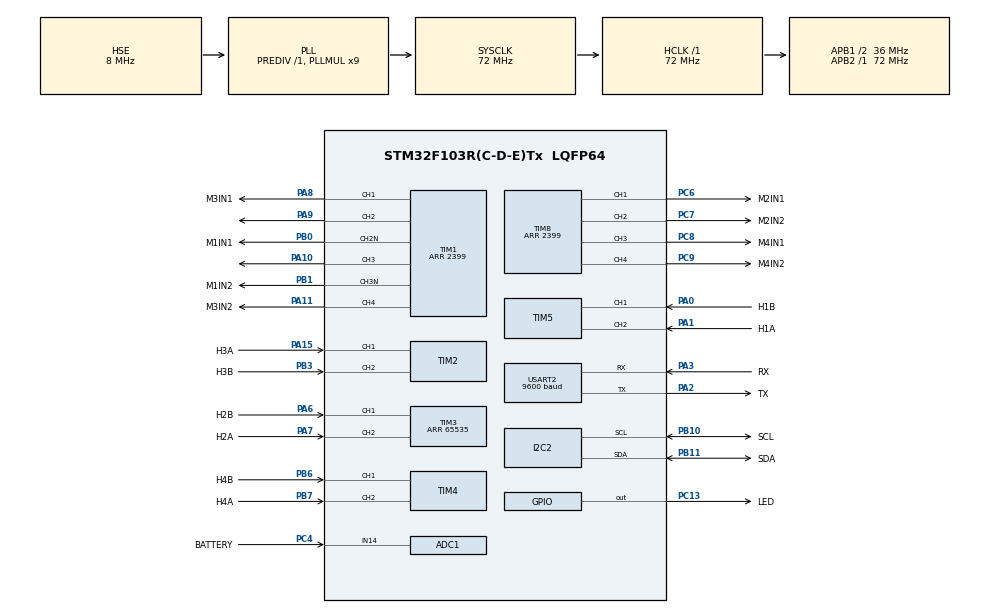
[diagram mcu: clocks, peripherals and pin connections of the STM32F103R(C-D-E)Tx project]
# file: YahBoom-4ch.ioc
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ADC1.Channel-1\#ChannelRegularConversion=ADC_CHANNEL_14
ADC1.NbrOfConversionFlag=1
ADC1.Rank-1\#ChannelRegularConversion=1
ADC1.SamplingTime-1\#ChannelRegularConversion=ADC_SAMPLETIME_55CYCLES_5
ADC1.master=1
Dma.Request0=USART2_RX
Dma.Request1=USART2_TX
Dma.USART2_RX.0.Direction=DMA_PERIPH_TO_MEMORY
Dma.USART2_RX.0.Instance=DMA1_Channel6
Dma.USART2_RX.0.MemDataAlignment=DMA_MDATAALIGN_BYTE
Dma.USART2_RX.0.MemInc=DMA_MINC_ENABLE
Dma.USART2_RX.0.Mode=DMA_CIRCULAR
Dma.USART2_RX.0.PeriphDataAlignment=DMA_PDATAALIGN_BYTE
Dma.USART2_RX.0.PeriphInc=DMA_PINC_DISABLE
Dma.USART2_RX.0.Priority=DMA_PRIORITY_MEDIUM
Dma.USART2_TX.1.Direction=DMA_MEMORY_TO_PERIPH
Dma.USART2_TX.1.Instance=DMA1_Channel7
Dma.USART2_TX.1.MemDataAlignment=DMA_MDATAALIGN_BYTE
Dma.USART2_TX.1.MemInc=DMA_MINC_ENABLE
Dma.USART2_TX.1.Mode=DMA_NORMAL
Dma.USART2_TX.1.PeriphDataAlignment=DMA_PDATAALIGN_BYTE
Dma.USART2_TX.1.PeriphInc=DMA_PINC_DISABLE
Dma.USART2_TX.1.Priority=DMA_PRIORITY_MEDIUM
Mcu.Family=STM32F1
Mcu.Name=STM32F103R(C-D-E)Tx
Mcu.Package=LQFP64
NVIC.DMA1_Channel6_IRQn=true\:2\:0\:true\:false\:true\:false\:true\:true
NVIC.DMA1_Channel7_IRQn=true\:3\:0\:true\:false\:true\:false\:true\:true
NVIC.PriorityGroup=NVIC_PRIORITYGROUP_4
NVIC.TIM6_IRQn=true\:1\:0\:true\:false\:true\:true\:true\:true
NVIC.USART2_IRQn=true\:0\:0\:true\:false\:true\:true\:true\:true
PA0-WKUP.GPIO_Label=H1B
PA0-WKUP.Signal=S_TIM5_CH1
PA1.GPIO_Label=H1A
PA1.Signal=S_TIM5_CH2
PA10.Signal=S_TIM1_CH3
PA11.GPIO_Label=M3IN2
PA11.Signal=S_TIM1_CH4
PA13.Mode=Serial_Wire
PA13.Signal=SYS_JTMS-SWDIO
PA14.Mode=Serial_Wire
PA14.Signal=SYS_JTCK-SWCLK
PA15.GPIO_Label=H3A
PA15.Signal=S_TIM2_CH1_ETR
PA2.GPIO_Label=TX
PA2.Mode=Asynchronous
PA2.Signal=USART2_TX
PA3.GPIO_Label=RX
PA3.Mode=Asynchronous
PA3.Signal=USART2_RX
PA6.GPIO_Label=H2B
PA6.Signal=S_TIM3_CH1
PA7.GPIO_Label=H2A
PA7.Signal=S_TIM3_CH2
PA8.GPIO_Label=M3IN1
PA8.Signal=S_TIM1_CH1
PA9.Signal=S_TIM1_CH2
PB0.GPIO_Label=M1IN1
PB0.Mode=PWM Generation2 CH2 CH2N
PB0.Signal=TIM1_CH2N
PB1.GPIO_Label=M1IN2
PB1.Mode=PWM Generation3 CH3 CH3N
PB1.Signal=TIM1_CH3N
PB10.GPIO_Label=SCL
PB10.Mode=I2C
PB10.Signal=I2C2_SCL
PB11.GPIO_Label=SDA
PB11.Mode=I2C
PB11.Signal=I2C2_SDA
PB3.GPIO_Label=H3B
PB3.Signal=S_TIM2_CH2
PB6.GPIO_Label=H4B
PB6.Signal=S_TIM4_CH1
PB7.GPIO_Label=H4A
PB7.Signal=S_TIM4_CH2
PC13-TAMPER-RTC.GPIO_Label=LED
PC13-TAMPER-RTC.Signal=GPIO_Output
PC4.GPIO_Label=BATTERY
PC4.Signal=ADCx_IN14
PC6.GPIO_Label=M2IN1
PC6.Signal=S_TIM8_CH1
PC7.GPIO_Label=M2IN2
PC7.Signal=S_TIM8_CH2
PC8.GPIO_Label=M4IN1
PC8.Signal=S_TIM8_CH3
PC9.GPIO_Label=M4IN2
PC9.Signal=S_TIM8_CH4
PD0-OSC_IN.Mode=HSE-External-Oscillator
PD0-OSC_IN.Signal=RCC_OSC_IN
PD1-OSC_OUT.Mode=HSE-External-Oscillator
PD1-OSC_OUT.Signal=RCC_OSC_OUT
ProjectManager.HeapSize=0x200
ProjectManager.StackSize=0x400
ProjectManager.TargetToolchain=STM32CubeIDE
RCC.ADCPresc=RCC_ADCPCLK2_DIV6
RCC.AHBFreq_Value=72000000
RCC.APB1CLKDivider=RCC_HCLK_DIV2
RCC.APB1Freq_Value=36000000
RCC.APB1TimFreq_Value=72000000
RCC.APB2Freq_Value=72000000
RCC.APB2TimFreq_Value=72000000
RCC.HCLKFreq_Value=72000000
RCC.PLLMUL=RCC_PLL_MUL9
RCC.PLLSourceVirtual=RCC_PLLSOURCE_HSE
RCC.SYSCLKFreq_VALUE=72000000
RCC.SYSCLKSource=RCC_SYSCLKSOURCE_PLLCLK
RCC.USBFreq_Value=72000000
SH.ADCx_IN14.0=ADC1_IN14,IN14
SH.S_TIM1_CH1.0=TIM1_CH1,PWM Generation1 CH1
SH.S_TIM1_CH2.0=TIM1_CH2,PWM Generation2 CH2 CH2N
SH.S_TIM1_CH3.0=TIM1_CH3,PWM Generation3 CH3 CH3N
SH.S_TIM1_CH4.0=TIM1_CH4,PWM Generation4 CH4
SH.S_TIM2_CH1_ETR.0=TIM2_CH1,Encoder_Interface
SH.S_TIM2_CH2.0=TIM2_CH2,Encoder_Interface
SH.S_TIM3_CH1.0=TIM3_CH1,Encoder_Interface
SH.S_TIM3_CH2.0=TIM3_CH2,Encoder_Interface
SH.S_TIM4_CH1.0=TIM4_CH1,Encoder_Interface
SH.S_TIM4_CH2.0=TIM4_CH2,Encoder_Interface
SH.S_TIM5_CH1.0=TIM5_CH1,Encoder_Interface
SH.S_TIM5_CH2.0=TIM5_CH2,Encoder_Interface
SH.S_TIM8_CH1.0=TIM8_CH1,PWM Generation1 CH1
SH.S_TIM8_CH2.0=TIM8_CH2,PWM Generation2 CH2
SH.S_TIM8_CH3.0=TIM8_CH3,PWM Generation3 CH3
SH.S_TIM8_CH4.0=TIM8_CH4,PWM Generation4 CH4
TIM1.Channel-PWM\ Generation1\ CH1=TIM_CHANNEL_1
TIM1.Channel-PWM\ Generation2\ CH2\ CH2N=TIM_CHANNEL_2
TIM1.Channel-PWM\ Generation3\ CH3\ CH3N=TIM_CHANNEL_3
TIM1.Channel-PWM\ Generation4\ CH4=TIM_CHANNEL_4
TIM1.OCNPolarity_2=TIM_OCNPOLARITY_LOW
TIM1.OCNPolarity_3=TIM_OCNPOLARITY_LOW
TIM1.Period=2399
TIM2.EncoderMode=TIM_ENCODERMODE_TI12
TIM2.IC1Filter=6
TIM2.IC2Filter=6
TIM3.EncoderMode=TIM_ENCODERMODE_TI12
TIM3.IC1Filter=6
TIM3.IC2Filter=6
TIM3.Period=65535
TIM4.EncoderMode=TIM_ENCODERMODE_TI12
TIM4.IC1Filter=6
TIM4.IC2Filter=6
TIM5.EncoderMode=TIM_ENCODERMODE_TI12
TIM5.IC1Filter=6
TIM5.IC2Filter=6
TIM6.Period=999
TIM6.Prescaler=71
TIM8.Channel-PWM\ Generation1\ CH1=TIM_CHANNEL_1
TIM8.Channel-PWM\ Generation2\ CH2=TIM_CHANNEL_2
TIM8.Channel-PWM\ Generation3\ CH3=TIM_CHANNEL_3
TIM8.Channel-PWM\ Generation4\ CH4=TIM_CHANNEL_4
TIM8.Period=2399
USART2.BaudRate=9600
USART2.VirtualMode=VM_ASYNC
VP_TIM6_VS_ClockSourceINT.Mode=Enable_Timer
board=custom

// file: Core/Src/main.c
/* USER CODE BEGIN Header */
/**
  ******************************************************************************
  * @file           : main.c
  * @brief          : Main program body
  ******************************************************************************
  * @attention
  *
  * Copyright (c) 2026 STMicroelectronics.
  * All rights reserved.
  *
  * This software is licensed under terms that can be found in the LICENSE file
  * in the root directory of this software component.
  * If no LICENSE file comes with this software, it is provided AS-IS.
  *
  ******************************************************************************
  */
/* USER CODE END Header */
#include "main.h"

/* USER CODE BEGIN Includes */
#include "app_c_api.h"
#include "firmware_runtime.h"
#include "kicker_board.h"
#include "robot_identity.h"
#include "serial_service.h"

/* USER CODE END Includes */

/* USER CODE BEGIN PD */
#define USART2_CONFIGURED_BAUD \
  ((TAURA_COMM_MODE != COMM_MODE_MATCH) ? BENCH_UART_BAUD : \
   ((TAURA_MATCH_TRANSPORT == MATCH_TRANSPORT_AIRPORT_TEAM) ? \
    MATCH_AIRPORT_UART_BAUD : MATCH_CRSF_UART_BAUD))
/* USER CODE END PD */

ADC_HandleTypeDef hadc1;

I2C_HandleTypeDef hi2c2;

TIM_HandleTypeDef htim1;
TIM_HandleTypeDef htim2;
TIM_HandleTypeDef htim3;
TIM_HandleTypeDef htim4;
TIM_HandleTypeDef htim5;
TIM_HandleTypeDef htim6;
TIM_HandleTypeDef htim8;

UART_HandleTypeDef huart2;
DMA_HandleTypeDef hdma_usart2_rx;
DMA_HandleTypeDef hdma_usart2_tx;

void SystemClock_Config(void);
static void MX_GPIO_Init(void);
static void MX_DMA_Init(void);
static void MX_ADC1_Init(void);
static void MX_I2C2_Init(void);
static void MX_TIM1_Init(void);
static void MX_TIM3_Init(void);
static void MX_TIM8_Init(void);
static void MX_USART2_UART_Init(void);
static void MX_TIM2_Init(void);
static void MX_TIM4_Init(void);
static void MX_TIM5_Init(void);
static void MX_TIM6_Init(void);
/* USER CODE BEGIN PFP */
static void ApplyCommModeUartBaud(void);
/* USER CODE END PFP */

/* USER CODE BEGIN 0 */
static void ApplyCommModeUartBaud(void)
{
  if (huart2.Init.BaudRate == USART2_CONFIGURED_BAUD)
  {
    return;
  }

  huart2.Init.BaudRate = USART2_CONFIGURED_BAUD;
  if (HAL_UART_Init(&huart2) != HAL_OK)
  {
    Error_Handler();
  }
}
/* USER CODE END 0 */

int main(void)
{

  /* MCU Configuration--------------------------------------------------------*/

  /* Reset of all peripherals, Initializes the Flash interface and the Systick. */
   HAL_Init();

  /* Configure the system clock */
  SystemClock_Config();

  /* Initialize all configured peripherals */
  MX_GPIO_Init();
  MX_DMA_Init();
  MX_ADC1_Init();
  MX_I2C2_Init();
  MX_TIM1_Init();
  MX_TIM3_Init();
  MX_TIM8_Init();
  MX_USART2_UART_Init();
  MX_TIM2_Init();
  MX_TIM4_Init();
  MX_TIM5_Init();
  MX_TIM6_Init();
  /* USER CODE BEGIN 2 */
  KickerBoard_Init(&hi2c2);
  ApplyCommModeUartBaud();
  FirmwareRuntime_WatchdogInit();
  RobotIdentity_Init();
  AppC_Init(&hadc1, &htim1, &htim8, &htim5, &htim3, &htim2, &htim4, LED_GPIO_Port, LED_Pin);
  RobotMotionLimits motion_limits;
  RobotIdentity_GetMotionLimits(&motion_limits);
  AppC_SetMotionLimits(motion_limits.max_linear_accel,
                       motion_limits.max_angular_accel,
                       motion_limits.max_brake_accel);
  HAL_TIM_Base_Start_IT(&htim6);
  if (SerialService_Init(&huart2, &hdma_usart2_rx) != HAL_OK)
  {
    Error_Handler();
  }

  /* USER CODE END 2 */

  /* Infinite loop */
  while (1)
  {

    /* USER CODE BEGIN 3 */
    AppC_Tick();
    SerialService_Task();
    KickerBoard_Task();
    FirmwareRuntime_WatchdogRefresh();
  }
  /* USER CODE END 3 */
}

void SystemClock_Config(void)
{
  RCC_OscInitTypeDef RCC_OscInitStruct = {0};
  RCC_ClkInitTypeDef RCC_ClkInitStruct = {0};
  RCC_PeriphCLKInitTypeDef PeriphClkInit = {0};

  /** Initializes the RCC Oscillators according to the specified parameters
  * in the RCC_OscInitTypeDef structure.
  */
  RCC_OscInitStruct.OscillatorType = RCC_OSCILLATORTYPE_HSE;
  RCC_OscInitStruct.HSEState = RCC_HSE_ON;
  RCC_OscInitStruct.HSEPredivValue = RCC_HSE_PREDIV_DIV1;
  RCC_OscInitStruct.HSIState = RCC_HSI_ON;
  RCC_OscInitStruct.PLL.PLLState = RCC_PLL_ON;
  RCC_OscInitStruct.PLL.PLLSource = RCC_PLLSOURCE_HSE;
  RCC_OscInitStruct.PLL.PLLMUL = RCC_PLL_MUL9;
  if (HAL_RCC_OscConfig(&RCC_OscInitStruct) != HAL_OK)
  {
    Error_Handler();
  }

  /** Initializes the CPU, AHB and APB buses clocks
  */
  RCC_ClkInitStruct.ClockType = RCC_CLOCKTYPE_HCLK|RCC_CLOCKTYPE_SYSCLK
                              |RCC_CLOCKTYPE_PCLK1|RCC_CLOCKTYPE_PCLK2;
  RCC_ClkInitStruct.SYSCLKSource = RCC_SYSCLKSOURCE_PLLCLK;
  RCC_ClkInitStruct.AHBCLKDivider = RCC_SYSCLK_DIV1;
  RCC_ClkInitStruct.APB1CLKDivider = RCC_HCLK_DIV2;
  RCC_ClkInitStruct.APB2CLKDivider = RCC_HCLK_DIV1;

  if (HAL_RCC_ClockConfig(&RCC_ClkInitStruct, FLASH_LATENCY_2) != HAL_OK)
  {
    Error_Handler();
  }
  PeriphClkInit.PeriphClockSelection = RCC_PERIPHCLK_ADC;
  PeriphClkInit.AdcClockSelection = RCC_ADCPCLK2_DIV6;
  if (HAL_RCCEx_PeriphCLKConfig(&PeriphClkInit) != HAL_OK)
  {
    Error_Handler();
  }
}

static void MX_ADC1_Init(void)
{

  ADC_ChannelConfTypeDef sConfig = {0};

  /** Common config
  */
  hadc1.Instance = ADC1;
  hadc1.Init.ScanConvMode = ADC_SCAN_DISABLE;
  hadc1.Init.ContinuousConvMode = DISABLE;
  hadc1.Init.DiscontinuousConvMode = DISABLE;
  hadc1.Init.ExternalTrigConv = ADC_SOFTWARE_START;
  hadc1.Init.DataAlign = ADC_DATAALIGN_RIGHT;
  hadc1.Init.NbrOfConversion = 1;
  if (HAL_ADC_Init(&hadc1) != HAL_OK)
  {
    Error_Handler();
  }

  /** Configure Regular Channel
  */
  sConfig.Channel = ADC_CHANNEL_14;
  sConfig.Rank = ADC_REGULAR_RANK_1;
  sConfig.SamplingTime = ADC_SAMPLETIME_55CYCLES_5;
  if (HAL_ADC_ConfigChannel(&hadc1, &sConfig) != HAL_OK)
  {
    Error_Handler();
  }

}

static void MX_I2C2_Init(void)
{

  hi2c2.Instance = I2C2;
  hi2c2.Init.ClockSpeed = 100000;
  hi2c2.Init.DutyCycle = I2C_DUTYCYCLE_2;
  hi2c2.Init.OwnAddress1 = 0;
  hi2c2.Init.AddressingMode = I2C_ADDRESSINGMODE_7BIT;
  hi2c2.Init.DualAddressMode = I2C_DUALADDRESS_DISABLE;
  hi2c2.Init.OwnAddress2 = 0;
  hi2c2.Init.GeneralCallMode = I2C_GENERALCALL_DISABLE;
  hi2c2.Init.NoStretchMode = I2C_NOSTRETCH_DISABLE;
  if (HAL_I2C_Init(&hi2c2) != HAL_OK)
  {
    Error_Handler();
  }

}

static void MX_TIM1_Init(void)
{

  TIM_MasterConfigTypeDef sMasterConfig = {0};
  TIM_OC_InitTypeDef sConfigOC = {0};
  TIM_BreakDeadTimeConfigTypeDef sBreakDeadTimeConfig = {0};

  htim1.Instance = TIM1;
  htim1.Init.Prescaler = 0;
  htim1.Init.CounterMode = TIM_COUNTERMODE_UP;
  htim1.Init.Period = 2399;
  htim1.Init.ClockDivision = TIM_CLOCKDIVISION_DIV1;
  htim1.Init.RepetitionCounter = 0;
  htim1.Init.AutoReloadPreload = TIM_AUTORELOAD_PRELOAD_DISABLE;
  if (HAL_TIM_PWM_Init(&htim1) != HAL_OK)
  {
    Error_Handler();
  }
  sMasterConfig.MasterOutputTrigger = TIM_TRGO_RESET;
  sMasterConfig.MasterSlaveMode = TIM_MASTERSLAVEMODE_DISABLE;
  if (HAL_TIMEx_MasterConfigSynchronization(&htim1, &sMasterConfig) != HAL_OK)
  {
    Error_Handler();
  }
  sConfigOC.OCMode = TIM_OCMODE_PWM1;
  sConfigOC.Pulse = 0;
  sConfigOC.OCPolarity = TIM_OCPOLARITY_HIGH;
  sConfigOC.OCNPolarity = TIM_OCNPOLARITY_HIGH;
  sConfigOC.OCFastMode = TIM_OCFAST_DISABLE;
  sConfigOC.OCIdleState = TIM_OCIDLESTATE_RESET;
  sConfigOC.OCNIdleState = TIM_OCNIDLESTATE_RESET;
  if (HAL_TIM_PWM_ConfigChannel(&htim1, &sConfigOC, TIM_CHANNEL_1) != HAL_OK)
  {
    Error_Handler();
  }
  sConfigOC.OCNPolarity = TIM_OCNPOLARITY_LOW;
  if (HAL_TIM_PWM_ConfigChannel(&htim1, &sConfigOC, TIM_CHANNEL_2) != HAL_OK)
  {
    Error_Handler();
  }
  if (HAL_TIM_PWM_ConfigChannel(&htim1, &sConfigOC, TIM_CHANNEL_3) != HAL_OK)
  {
    Error_Handler();
  }
  if (HAL_TIM_PWM_ConfigChannel(&htim1, &sConfigOC, TIM_CHANNEL_4) != HAL_OK)
  {
    Error_Handler();
  }
  sBreakDeadTimeConfig.OffStateRunMode = TIM_OSSR_DISABLE;
  sBreakDeadTimeConfig.OffStateIDLEMode = TIM_OSSI_DISABLE;
  sBreakDeadTimeConfig.LockLevel = TIM_LOCKLEVEL_OFF;
  sBreakDeadTimeConfig.DeadTime = 0;
  sBreakDeadTimeConfig.BreakState = TIM_BREAK_DISABLE;
  sBreakDeadTimeConfig.BreakPolarity = TIM_BREAKPOLARITY_HIGH;
  sBreakDeadTimeConfig.AutomaticOutput = TIM_AUTOMATICOUTPUT_DISABLE;
  if (HAL_TIMEx_ConfigBreakDeadTime(&htim1, &sBreakDeadTimeConfig) != HAL_OK)
  {
    Error_Handler();
  }
  HAL_TIM_MspPostInit(&htim1);

}

static void MX_TIM2_Init(void)
{

  TIM_Encoder_InitTypeDef sConfig = {0};
  TIM_MasterConfigTypeDef sMasterConfig = {0};

  htim2.Instance = TIM2;
  htim2.Init.Prescaler = 0;
  htim2.Init.CounterMode = TIM_COUNTERMODE_UP;
  htim2.Init.Period = 65535;
  htim2.Init.ClockDivision = TIM_CLOCKDIVISION_DIV1;
  htim2.Init.AutoReloadPreload = TIM_AUTORELOAD_PRELOAD_DISABLE;
  sConfig.EncoderMode = TIM_ENCODERMODE_TI12;
  sConfig.IC1Polarity = TIM_ICPOLARITY_RISING;
  sConfig.IC1Selection = TIM_ICSELECTION_DIRECTTI;
  sConfig.IC1Prescaler = TIM_ICPSC_DIV1;
  sConfig.IC1Filter = 6;
  sConfig.IC2Polarity = TIM_ICPOLARITY_RISING;
  sConfig.IC2Selection = TIM_ICSELECTION_DIRECTTI;
  sConfig.IC2Prescaler = TIM_ICPSC_DIV1;
  sConfig.IC2Filter = 6;
  if (HAL_TIM_Encoder_Init(&htim2, &sConfig) != HAL_OK)
  {
    Error_Handler();
  }
  sMasterConfig.MasterOutputTrigger = TIM_TRGO_RESET;
  sMasterConfig.MasterSlaveMode = TIM_MASTERSLAVEMODE_DISABLE;
  if (HAL_TIMEx_MasterConfigSynchronization(&htim2, &sMasterConfig) != HAL_OK)
  {
    Error_Handler();
  }

}

static void MX_TIM3_Init(void)
{

  TIM_Encoder_InitTypeDef sConfig = {0};
  TIM_MasterConfigTypeDef sMasterConfig = {0};

  htim3.Instance = TIM3;
  htim3.Init.Prescaler = 0;
  htim3.Init.CounterMode = TIM_COUNTERMODE_UP;
  htim3.Init.Period = 65535;
  htim3.Init.ClockDivision = TIM_CLOCKDIVISION_DIV1;
  htim3.Init.AutoReloadPreload = TIM_AUTORELOAD_PRELOAD_DISABLE;
  sConfig.EncoderMode = TIM_ENCODERMODE_TI12;
  sConfig.IC1Polarity = TIM_ICPOLARITY_RISING;
  sConfig.IC1Selection = TIM_ICSELECTION_DIRECTTI;
  sConfig.IC1Prescaler = TIM_ICPSC_DIV1;
  sConfig.IC1Filter = 6;
  sConfig.IC2Polarity = TIM_ICPOLARITY_RISING;
  sConfig.IC2Selection = TIM_ICSELECTION_DIRECTTI;
  sConfig.IC2Prescaler = TIM_ICPSC_DIV1;
  sConfig.IC2Filter = 6;
  if (HAL_TIM_Encoder_Init(&htim3, &sConfig) != HAL_OK)
  {
    Error_Handler();
  }
  sMasterConfig.MasterOutputTrigger = TIM_TRGO_RESET;
  sMasterConfig.MasterSlaveMode = TIM_MASTERSLAVEMODE_DISABLE;
  if (HAL_TIMEx_MasterConfigSynchronization(&htim3, &sMasterConfig) != HAL_OK)
  {
    Error_Handler();
  }

}

static void MX_TIM4_Init(void)
{

  TIM_Encoder_InitTypeDef sConfig = {0};
  TIM_MasterConfigTypeDef sMasterConfig = {0};

  htim4.Instance = TIM4;
  htim4.Init.Prescaler = 0;
  htim4.Init.CounterMode = TIM_COUNTERMODE_UP;
  htim4.Init.Period = 65535;
  htim4.Init.ClockDivision = TIM_CLOCKDIVISION_DIV1;
  htim4.Init.AutoReloadPreload = TIM_AUTORELOAD_PRELOAD_DISABLE;
  sConfig.EncoderMode = TIM_ENCODERMODE_TI12;
  sConfig.IC1Polarity = TIM_ICPOLARITY_RISING;
  sConfig.IC1Selection = TIM_ICSELECTION_DIRECTTI;
  sConfig.IC1Prescaler = TIM_ICPSC_DIV1;
  sConfig.IC1Filter = 6;
  sConfig.IC2Polarity = TIM_ICPOLARITY_RISING;
  sConfig.IC2Selection = TIM_ICSELECTION_DIRECTTI;
  sConfig.IC2Prescaler = TIM_ICPSC_DIV1;
  sConfig.IC2Filter = 6;
  if (HAL_TIM_Encoder_Init(&htim4, &sConfig) != HAL_OK)
  {
    Error_Handler();
  }
  sMasterConfig.MasterOutputTrigger = TIM_TRGO_RESET;
  sMasterConfig.MasterSlaveMode = TIM_MASTERSLAVEMODE_DISABLE;
  if (HAL_TIMEx_MasterConfigSynchronization(&htim4, &sMasterConfig) != HAL_OK)
  {
    Error_Handler();
  }

}

static void MX_TIM5_Init(void)
{

  TIM_Encoder_InitTypeDef sConfig = {0};
  TIM_MasterConfigTypeDef sMasterConfig = {0};

  htim5.Instance = TIM5;
  htim5.Init.Prescaler = 0;
  htim5.Init.CounterMode = TIM_COUNTERMODE_UP;
  htim5.Init.Period = 65535;
  htim5.Init.ClockDivision = TIM_CLOCKDIVISION_DIV1;
  htim5.Init.AutoReloadPreload = TIM_AUTORELOAD_PRELOAD_DISABLE;
  sConfig.EncoderMode = TIM_ENCODERMODE_TI12;
  sConfig.IC1Polarity = TIM_ICPOLARITY_RISING;
  sConfig.IC1Selection = TIM_ICSELECTION_DIRECTTI;
  sConfig.IC1Prescaler = TIM_ICPSC_DIV1;
  sConfig.IC1Filter = 6;
  sConfig.IC2Polarity = TIM_ICPOLARITY_RISING;
  sConfig.IC2Selection = TIM_ICSELECTION_DIRECTTI;
  sConfig.IC2Prescaler = TIM_ICPSC_DIV1;
  sConfig.IC2Filter = 6;
  if (HAL_TIM_Encoder_Init(&htim5, &sConfig) != HAL_OK)
  {
    Error_Handler();
  }
  sMasterConfig.MasterOutputTrigger = TIM_TRGO_RESET;
  sMasterConfig.MasterSlaveMode = TIM_MASTERSLAVEMODE_DISABLE;
  if (HAL_TIMEx_MasterConfigSynchronization(&htim5, &sMasterConfig) != HAL_OK)
  {
    Error_Handler();
  }

}

static void MX_TIM6_Init(void)
{

  TIM_MasterConfigTypeDef sMasterConfig = {0};

  htim6.Instance = TIM6;
  htim6.Init.Prescaler = 71;
  htim6.Init.CounterMode = TIM_COUNTERMODE_UP;
  htim6.Init.Period = 999;
  htim6.Init.AutoReloadPreload = TIM_AUTORELOAD_PRELOAD_DISABLE;
  if (HAL_TIM_Base_Init(&htim6) != HAL_OK)
  {
    Error_Handler();
  }
  sMasterConfig.MasterOutputTrigger = TIM_TRGO_RESET;
  sMasterConfig.MasterSlaveMode = TIM_MASTERSLAVEMODE_DISABLE;
  if (HAL_TIMEx_MasterConfigSynchronization(&htim6, &sMasterConfig) != HAL_OK)
  {
    Error_Handler();
  }

}

static void MX_TIM8_Init(void)
{

  TIM_MasterConfigTypeDef sMasterConfig = {0};
  TIM_OC_InitTypeDef sConfigOC = {0};
  TIM_BreakDeadTimeConfigTypeDef sBreakDeadTimeConfig = {0};

  htim8.Instance = TIM8;
  htim8.Init.Prescaler = 0;
  htim8.Init.CounterMode = TIM_COUNTERMODE_UP;
  htim8.Init.Period = 2399;
  htim8.Init.ClockDivision = TIM_CLOCKDIVISION_DIV1;
  htim8.Init.RepetitionCounter = 0;
  htim8.Init.AutoReloadPreload = TIM_AUTORELOAD_PRELOAD_DISABLE;
  if (HAL_TIM_PWM_Init(&htim8) != HAL_OK)
  {
    Error_Handler();
  }
  sMasterConfig.MasterOutputTrigger = TIM_TRGO_RESET;
  sMasterConfig.MasterSlaveMode = TIM_MASTERSLAVEMODE_DISABLE;
  if (HAL_TIMEx_MasterConfigSynchronization(&htim8, &sMasterConfig) != HAL_OK)
  {
    Error_Handler();
  }
  sConfigOC.OCMode = TIM_OCMODE_PWM1;
  sConfigOC.Pulse = 0;
  sConfigOC.OCPolarity = TIM_OCPOLARITY_HIGH;
  sConfigOC.OCNPolarity = TIM_OCNPOLARITY_HIGH;
  sConfigOC.OCFastMode = TIM_OCFAST_DISABLE;
  sConfigOC.OCIdleState = TIM_OCIDLESTATE_RESET;
  sConfigOC.OCNIdleState = TIM_OCNIDLESTATE_RESET;
  if (HAL_TIM_PWM_ConfigChannel(&htim8, &sConfigOC, TIM_CHANNEL_1) != HAL_OK)
  {
    Error_Handler();
  }
  if (HAL_TIM_PWM_ConfigChannel(&htim8, &sConfigOC, TIM_CHANNEL_2) != HAL_OK)
  {
    Error_Handler();
  }
  if (HAL_TIM_PWM_ConfigChannel(&htim8, &sConfigOC, TIM_CHANNEL_3) != HAL_OK)
  {
    Error_Handler();
  }
  if (HAL_TIM_PWM_ConfigChannel(&htim8, &sConfigOC, TIM_CHANNEL_4) != HAL_OK)
  {
    Error_Handler();
  }
  sBreakDeadTimeConfig.OffStateRunMode = TIM_OSSR_DISABLE;
  sBreakDeadTimeConfig.OffStateIDLEMode = TIM_OSSI_DISABLE;
  sBreakDeadTimeConfig.LockLevel = TIM_LOCKLEVEL_OFF;
  sBreakDeadTimeConfig.DeadTime = 0;
  sBreakDeadTimeConfig.BreakState = TIM_BREAK_DISABLE;
  sBreakDeadTimeConfig.BreakPolarity = TIM_BREAKPOLARITY_HIGH;
  sBreakDeadTimeConfig.AutomaticOutput = TIM_AUTOMATICOUTPUT_DISABLE;
  if (HAL_TIMEx_ConfigBreakDeadTime(&htim8, &sBreakDeadTimeConfig) != HAL_OK)
  {
    Error_Handler();
  }
  HAL_TIM_MspPostInit(&htim8);

}

static void MX_USART2_UART_Init(void)
{

  huart2.Instance = USART2;
  huart2.Init.BaudRate = 9600;
  huart2.Init.WordLength = UART_WORDLENGTH_8B;
  huart2.Init.StopBits = UART_STOPBITS_1;
  huart2.Init.Parity = UART_PARITY_NONE;
  huart2.Init.Mode = UART_MODE_TX_RX;
  huart2.Init.HwFlowCtl = UART_HWCONTROL_NONE;
  huart2.Init.OverSampling = UART_OVERSAMPLING_16;
  if (HAL_UART_Init(&huart2) != HAL_OK)
  {
    Error_Handler();
  }

}

static void MX_DMA_Init(void)
{

  /* DMA controller clock enable */
  __HAL_RCC_DMA1_CLK_ENABLE();

  /* DMA interrupt init */
  /* DMA1_Channel6_IRQn interrupt configuration */
  HAL_NVIC_SetPriority(DMA1_Channel6_IRQn, 2, 0);
  HAL_NVIC_EnableIRQ(DMA1_Channel6_IRQn);
  /* DMA1_Channel7_IRQn interrupt configuration */
  HAL_NVIC_SetPriority(DMA1_Channel7_IRQn, 3, 0);
  HAL_NVIC_EnableIRQ(DMA1_Channel7_IRQn);

}

static void MX_GPIO_Init(void)
{
  GPIO_InitTypeDef GPIO_InitStruct = {0};

  /* GPIO Ports Clock Enable */
  __HAL_RCC_GPIOC_CLK_ENABLE();
  __HAL_RCC_GPIOD_CLK_ENABLE();
  __HAL_RCC_GPIOA_CLK_ENABLE();
  __HAL_RCC_GPIOB_CLK_ENABLE();

  /*Configure GPIO pin Output Level */
  HAL_GPIO_WritePin(LED_GPIO_Port, LED_Pin, GPIO_PIN_RESET);

  /*Configure GPIO pin : LED_Pin */
  GPIO_InitStruct.Pin = LED_Pin;
  GPIO_InitStruct.Mode = GPIO_MODE_OUTPUT_PP;
  GPIO_InitStruct.Pull = GPIO_NOPULL;
  GPIO_InitStruct.Speed = GPIO_SPEED_FREQ_LOW;
  HAL_GPIO_Init(LED_GPIO_Port, &GPIO_InitStruct);

}

/* USER CODE BEGIN 4 */
void HAL_TIM_PeriodElapsedCallback(TIM_HandleTypeDef *htim)
{
  if (htim->Instance == TIM6)
  {
    AppC_FastTick1kHz();
  }
}

void HAL_UART_TxCpltCallback(UART_HandleTypeDef *huart)
{
  SerialService_OnTxComplete(huart);
}

void HAL_UART_ErrorCallback(UART_HandleTypeDef *huart)
{
  SerialService_OnError(huart);
}

/* USER CODE END 4 */

void Error_Handler(void)
{
  /* USER CODE BEGIN Error_Handler_Debug */
  /* User can add his own implementation to report the HAL error return state */
  AppC_EmergencyStop();
  __disable_irq();
  while (1)
  {
  }
  /* USER CODE END Error_Handler_Debug */
}
